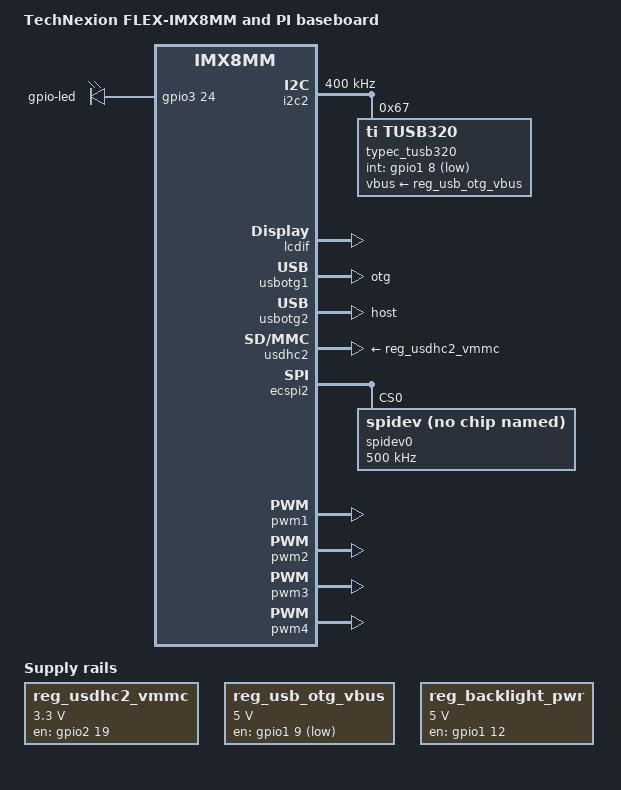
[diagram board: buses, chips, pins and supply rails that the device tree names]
// SPDX-License-Identifier: (GPL-2.0+ OR MIT)
/*
 * Copyright 2020 TechNexion Ltd.
 *
 * Author: Ray Chang <ray.chang@technexion.com>
 *
 */

/dts-v1/;

#include "imx8mm-flex.dtsi"

&gpio1 {
	pinctrl-0 = <&pinctrl_gpio1>;
	gpio-line-names =	\
		"WL_REG_ON", "PWM1", "", "BT_REG_ON", "", "CSI_P1_nRST", "CSI_P1_PWDN", "USB_HUB_RESET",	\
		"GPIO_P258", "USB_OTG_PWR_EN", "DSI1_EN", "DSI1_RST", "DSI1_VDDEN", "PWM2", "CSI_P1_CLK", "",	\
		"", "", "", "", "", "", "", "",	\
		"", "", "", "", "", "", "", "";
};

&gpio3 {
	pinctrl-0 = <&pinctrl_gpio3>;
	gpio-line-names =	\
		"WL_WAKE_HOST", "ENET_PWR_EN", "", "", "", "", "GPIO_P242", "PMIC_nINT",	\
		"USB_OTG_OC", "GPIO_P246", "", "", "", "", "", "",	\
		"BT_WAKE_HOST", "", "", "GPIO_P252", "GPIO_P240", "", "", "",	\
		"GPIO_P248", "GPIO_P250", "", "", "", "", "", "";
};

&gpio4 {
	pinctrl-0 = <&pinctrl_gpio4>;
	gpio-line-names =	\
		"BRD_CONF_SCL", "BRD_CONF_SDA", "", "", "", "", "", "",	\
		"", "", "", "", "", "", "", "",	\
		"", "", "", "", "GPIO_P256", "", "", "",	\
		"", "", "", "", "GPIO_P244", "", "", "";
};

/ {
	model = "TechNexion FLEX-IMX8MM and PI baseboard";
	compatible = "fsl,imx8mm-flex", "fsl,imx8mm";

	regulators {
		compatible = "simple-bus";
		#address-cells = <1>;
		#size-cells = <0>;

		reg_usdhc2_vmmc: regulator-usdhc2 {
			pinctrl-names = "default";
			pinctrl-0 = <&pinctrl_usdhc2_gpio>;
			compatible = "regulator-fixed";
			regulator-name = "SD_3V3";
			regulator-min-microvolt = <3300000>;
			regulator-max-microvolt = <3300000>;
			gpio = <&gpio2 19 GPIO_ACTIVE_HIGH>;
			off-on-delay = <20000>;
			enable-active-high;
		};

		reg_usb_otg_vbus: usb_otg_vbus {
			pinctrl-names = "default";
			pinctrl-0 = <&pinctrl_otg_vbus>;
			compatible = "regulator-fixed";
			regulator-name = "usb_otg_vbus";
			regulator-min-microvolt = <5000000>;
			regulator-max-microvolt = <5000000>;
			gpio = <&gpio1 9 GPIO_ACTIVE_LOW>;
			enable-active-low;
		};

		reg_backlight_pwr: regulator_blpwr {
			pinctrl-names = "default";
			pinctrl-0 = <&pinctrl_backlight_pwr>;
			compatible = "regulator-fixed";
			regulator-name = "backlight_pwr";
			regulator-min-microvolt = <5000000>;
			regulator-max-microvolt = <5000000>;
			gpio = <&gpio1 12 GPIO_ACTIVE_HIGH>;
			enable-active-high;
		};
	};

	backlight_mipi {
		compatible = "pwm-backlight";
		pwms = <&pwm1 0 50000 0>;
		brightness-levels = <0 36 72 108 144 180 216 255>;
		default-brightness-level = <6>;
		power-supply = <&reg_backlight_pwr>;
		status = "disabled";
	};

	leds {
		compatible = "gpio-leds";
		pinctrl-names = "default";
		pinctrl-0 = <&pinctrl_gpio_led>;

		led {
			label = "gpio-led";
			gpios = <&gpio3 24 GPIO_ACTIVE_HIGH>;
		};
	};
};

&iomuxc {
	pinctrl_gpio1: gpio1grp {
		fsl,pins = <
			MX8MM_IOMUXC_GPIO1_IO10_GPIO1_IO10	0x19 /* DSI1_EN */
		>;
	};

	pinctrl_gpio3: gpio3grp {
		fsl,pins = <
			MX8MM_IOMUXC_NAND_DATA00_GPIO3_IO6	0x19 /* GPIO_P242 */
			MX8MM_IOMUXC_NAND_DATA03_GPIO3_IO9	0x19 /* GPIO_P246, KEY_PREV */
			MX8MM_IOMUXC_NAND_DATA02_GPIO3_IO8	0x19 /* USB_OTG_OC */
			MX8MM_IOMUXC_SAI5_RXFS_GPIO3_IO19	0x19 /* GPIO_P252, KEY_MUTE */
			MX8MM_IOMUXC_SAI5_RXC_GPIO3_IO20	0x19 /* GPIO_P240, KEY_UP */
			MX8MM_IOMUXC_SAI5_MCLK_GPIO3_IO25	0x19 /* GPIO_P250, KEY_DOWN */
		>;
	};

	pinctrl_gpio4: gpio4grp {
		fsl,pins = <
			MX8MM_IOMUXC_SAI3_RXFS_GPIO4_IO28	0x19 /* GPIO_P244 */
		>;
	};

	pinctrl_otg_vbus: otgvbusgrp {
		fsl,pins = <
			MX8MM_IOMUXC_GPIO1_IO09_GPIO1_IO9	0x19 /* USB OTG VBUS Enable */
		>;
	};

	pinctrl_backlight_pwr: backlight_pwrgrp {
		fsl,pins = <
			MX8MM_IOMUXC_GPIO1_IO12_GPIO1_IO12	0x19
		>;
	};

	pinctrl_dsi_pwm: dsi_pwmgrp {
		fsl,pins = <
			MX8MM_IOMUXC_SPDIF_EXT_CLK_PWM1_OUT	0x16 /* DSI PWM */
		>;
	};

	pinctrl_tusb320_irq: tusb320_irqgrp {
		fsl,pins = <
			MX8MM_IOMUXC_GPIO1_IO08_GPIO1_IO8	0x41 /* GPIO_P258, TUSB320 INT*/
		>;
	};

	pinctrl_csi_pwn: csi_pwn_grp {
		fsl,pins = <
			MX8MM_IOMUXC_GPIO1_IO06_GPIO1_IO6	0x19
		>;
	};

	pinctrl_csi_rst: csi_rst_grp {
		fsl,pins = <
			MX8MM_IOMUXC_GPIO1_IO05_GPIO1_IO5		0x19
			MX8MM_IOMUXC_GPIO1_IO14_CCMSRCGPCMIX_CLKO1	0x59
		>;
	};

	pinctrl_mipi_dsi_rst: mipi_dsi_rstgrp {
		fsl,pins = <
			MX8MM_IOMUXC_GPIO1_IO11_GPIO1_IO11	0x16 /* DSI RST */
		>;
	};

	pinctrl_touch_irq: touch_irqgrp {
		fsl,pins = <
			MX8MM_IOMUXC_SPDIF_RX_GPIO5_IO4		0x19 /* GPIO_P254, Touch INT */
		>;
	};

	pinctrl_touch_rst: touch_rstgrp {
		fsl,pins = <
			MX8MM_IOMUXC_SAI1_MCLK_GPIO4_IO20	0x16 /* GPIO_P256, Touch RST */
		>;
	};

	pinctrl_gpio_led: gpioledgrp {
		fsl,pins = <
			MX8MM_IOMUXC_SAI5_RXD3_GPIO3_IO24	0x19 /* GPIO_P248 */
		>;
	};

	pinctrl_tfa98xx: tfa98xx_ctrlgrp {
		fsl,pins = <
			MX8MM_IOMUXC_ECSPI2_SCLK_GPIO5_IO10	0x19 /* RST */
			MX8MM_IOMUXC_ECSPI2_MISO_GPIO5_IO12	0x19 /* INT */
		>;
	};

	pinctrl_gpio_key_voicehat: gpiokey_voicehatgrp {
		fsl,pins = <
			MX8MM_IOMUXC_GPIO1_IO13_GPIO1_IO13	0x41 /* PWM2, KEY_PLAY */
			MX8MM_IOMUXC_SAI5_RXD3_GPIO3_IO24	0x41 /* GPIO_P248, KEY_NEXT */
			MX8MM_IOMUXC_ECSPI2_SS0_GPIO5_IO13	0x41 /* ECSPI2_SS0, KEY_PAIR */
			MX8MM_IOMUXC_SPDIF_TX_GPIO5_IO3		0x41 /* PWM3, KEY_ACT */
		>;
	};

	pinctrl_clix_bt_ctrl: clixbt_ctrlgrp {
		fsl,pins = <
			MX8MM_IOMUXC_ECSPI2_SCLK_GPIO5_IO10	0x41 /* CLIX_BT_HOST_WAKE */
			MX8MM_IOMUXC_ECSPI2_MOSI_GPIO5_IO11	0x41 /* CLIX_BT_REG_ON */
		>;
	};

	pinctrl_clix_wifi_ctrl: clixwifi_ctrlgrp {
		fsl,pins = <
			MX8MM_IOMUXC_ECSPI2_MISO_GPIO5_IO12	0x41 /* CLIX_WL_HOST_WAKE */
			MX8MM_IOMUXC_ECSPI2_SS0_GPIO5_IO13	0x41 /* CLIX_WL_REG_ON */
		>;
	};
};

&i2c2 {
	clock-frequency = <400000>;
	pinctrl-names = "default";
	pinctrl-0 = <&pinctrl_i2c2>;
	status = "okay";

	typec_tusb320:tusb320@67 {
		compatible = "ti,tusb320";
		pinctrl-names = "default";
		pinctrl-0 = <&pinctrl_tusb320_irq>;
		reg = <0x67>;
		vbus-supply = <&reg_usb_otg_vbus>;
		tusb320,int-gpio = <&gpio1 8 GPIO_ACTIVE_LOW>;
		tusb320,select-mode = <0>;
		tusb320,dfp-power = <0>;
	};
};

&lcdif {
	status = "okay";
};

&usbotg1 {
	dr_mode = "otg";
	extcon = <0>, <&typec_tusb320>;
	status = "okay";
};

&usbotg2 {
	dr_mode = "host";
	status = "okay";
};

/* SD card on Baseboard */
&usdhc2 {
	vmmc-supply = <&reg_usdhc2_vmmc>;
	status = "okay";
};

&ecspi2 {
	status = "okay";

	spidev0: spi@0 {
		reg = <0>;
		compatible = "rohm,dh2228fv";
		spi-max-frequency = <500000>;
	};
};

&pwm1 {
	pinctrl-names = "default";
	pinctrl-0 = <&pinctrl_dsi_pwm>;
	status = "okay";
};

&pwm2 {
	pinctrl-names = "default";
	pinctrl-0 = <&pinctrl_pwm2>;
	status = "okay";
};

&pwm3 {
	pinctrl-names = "default";
	pinctrl-0 = <&pinctrl_pwm3>;
	status = "okay";
};

&pwm4 {
	pinctrl-names = "default";
	pinctrl-0 = <&pinctrl_pwm4>;
	status = "okay";
};
